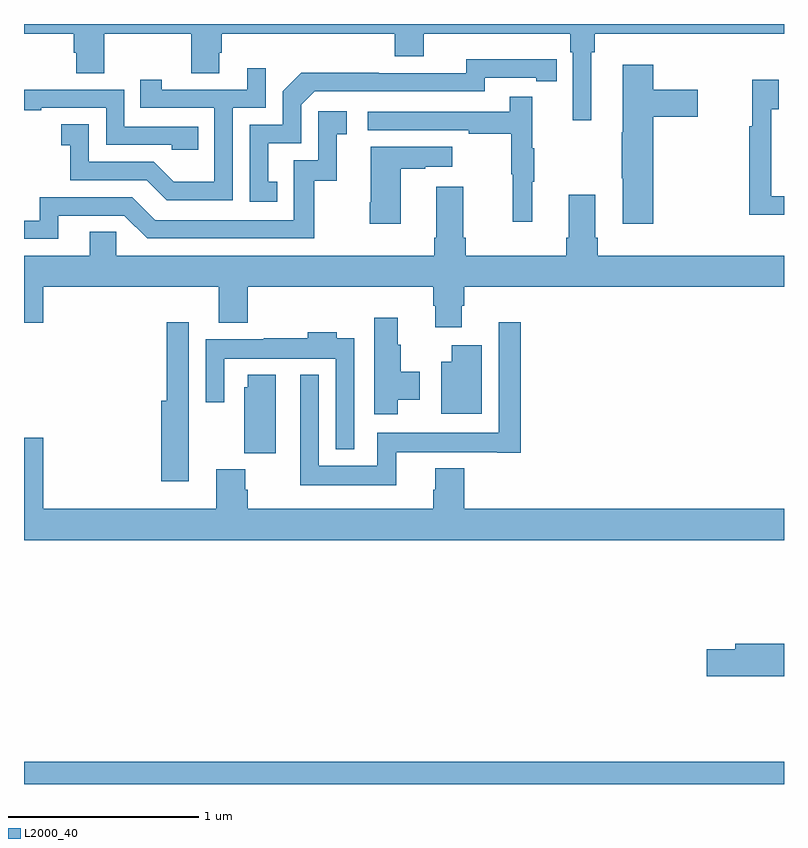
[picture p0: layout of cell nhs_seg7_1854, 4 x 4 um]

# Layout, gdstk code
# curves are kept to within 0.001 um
import gdstk
lib = gdstk.Library(unit=1e-6, precision=1e-09)
def R(c, l, rs):  # rectangles x0, y0, x1, y1
    for r in rs: c.add(gdstk.rectangle(r[:2], r[2:], *l))
def P(c, l, *ps):  # polygons
    for p in ps: c.add(gdstk.Polygon(p, *l))
L2000_40 = (2000, 40)

nhs_seg7_1854 = lib.new_cell('nhs_seg7_1854')
R(nhs_seg7_1854, L2000_40, [(237,998,241,998.116)])
P(nhs_seg7_1854, L2000_40, [(239.986,1001.852),(240.005,1001.852),(240.005,1001.948),(241,1001.948),(241,1002),(237,1002),(237,1001.948),(237.263,1001.948),(237.263,1001.85),(237.275,1001.85),(237.275,1001.74),(237.423,1001.74),(237.423,1001.948),(237.88,1001.948),(237.88,1001.74),(238.027,1001.74),(238.027,1001.85),(238.04,1001.85),(238.04,1001.948),(238.952,1001.948),(238.952,1001.831),(239.104,1001.831),(239.104,1001.948),(239.876,1001.948),(239.876,1001.852),(239.889,1001.852),(239.889,1001.493),(239.986,1001.493)],
  [(238.334,1001.169),(238.285,1001.169),(238.285,1001.373),(238.458,1001.373),(238.458,1001.574),(238.53,1001.646),(239.424,1001.646),(239.424,1001.718),(239.696,1001.718),(239.696,1001.698),(239.804,1001.698),(239.804,1001.814),(239.328,1001.815),(239.328,1001.742),(238.868,1001.742),(238.868,1001.744),(238.46,1001.744),(238.362,1001.646),(238.362,1001.469),(238.188,1001.469),(238.188,1001.064),(238.334,1001.064)],
  [(240.311,1001.513),(240.547,1001.513),(240.547,1001.655),(240.311,1001.655),(240.311,1001.785),(240.152,1001.785),(240.152,1001.429),(240.145,1001.429),(240.145,1001.188),(240.152,1001.188),(240.152,1000.95),(240.311,1000.95)],
  [(238.098,1001.559),(238.272,1001.559),(238.272,1001.767),(238.175,1001.767),(238.175,1001.655),(237.724,1001.655),(237.724,1001.707),(237.613,1001.707),(237.613,1001.559),(238.002,1001.559),(238.002,1001.17),(237.788,1001.17),(237.684,1001.274),(237.342,1001.274),(237.342,1001.473),(237.195,1001.473),(237.195,1001.363),(237.244,1001.363),(237.244,1001.178),(237.647,1001.178),(237.752,1001.073),(238.098,1001.073)],
  [(241,1001.094),(240.933,1001.094),(240.933,1001.551),(240.973,1001.551),(240.973,1001.707),(240.832,1001.707),(240.832,1001.462),(240.817,1001.462),(240.817,1000.997),(241,1000.997)],
  [(237.917,1001.46),(237.528,1001.46),(237.528,1001.655),(237,1001.655),(237,1001.547),(237.091,1001.547),(237.091,1001.559),(237.432,1001.559),(237.432,1001.364),(237.777,1001.364),(237.777,1001.337),(237.917,1001.337)],
  [(239.675,1001.171),(239.686,1001.171),(239.686,1001.345),(239.675,1001.345),(239.675,1001.617),(239.557,1001.617),(239.557,1001.538),(238.809,1001.538),(238.809,1001.442),(239.341,1001.442),(239.341,1001.422),(239.565,1001.422),(239.565,1001.208),(239.572,1001.208),(239.572,1000.959),(239.675,1000.959)],
  [(237.181,1000.992),(237.528,1000.992),(237.648,1000.872),(238.528,1000.872),(238.528,1001.175),(238.646,1001.175),(238.646,1001.421),(238.699,1001.421),(238.699,1001.542),(238.548,1001.542),(238.548,1001.283),(238.419,1001.283),(238.419,1000.968),(237.69,1000.968),(237.57,1001.088),(237.084,1001.088),(237.084,1000.965),(237,1000.965),(237,1000.869),(237.181,1000.869)],
  [(238.984,1001.239),(239.111,1001.239),(239.111,1001.249),(239.254,1001.249),(239.254,1001.353),(238.826,1001.353),(238.826,1001.062),(238.819,1001.062),(238.819,1000.95),(238.984,1000.95)],
  [(239.305,1000.518),(239.318,1000.518),(239.318,1000.616),(241,1000.616),(241,1000.78),(240.02,1000.78),(240.02,1000.876),(240.007,1000.876),(240.007,1001.101),(239.867,1001.101),(239.867,1000.876),(239.855,1000.876),(239.855,1000.78),(239.324,1000.78),(239.324,1000.876),(239.311,1000.876),(239.311,1001.143),(239.171,1001.143),(239.171,1000.876),(239.159,1000.876),(239.159,1000.78),(237.486,1000.78),(237.486,1000.907),(237.347,1000.907),(237.347,1000.78),(237,1000.78),(237,1000.428),(237.1,1000.428),(237.1,1000.616),(238.025,1000.616),(238.025,1000.427),(238.178,1000.427),(238.178,1000.616),(239.153,1000.616),(239.153,1000.518),(239.165,1000.518),(239.165,1000.404),(239.305,1000.404)],
  [(238.966,1000.022),(239.083,1000.022),(239.083,1000.17),(238.984,1000.17),(238.984,1000.311),(238.966,1000.311),(238.966,1000.453),(238.844,1000.453),(238.844,999.945),(238.966,999.945)],
  [(238.958,999.746),(239.492,999.746),(239.492,999.744),(239.615,999.744),(239.615,1000.429),(239.499,1000.429),(239.499,999.85),(238.86,999.85),(238.86,999.676),(238.551,999.676),(238.551,1000.153),(238.454,1000.153),(238.454,999.572),(238.958,999.572)],
  [(237.868,999.914),(237.867,999.914),(237.867,1000.429),(237.751,1000.429),(237.751,1000.018),(237.722,1000.018),(237.722,999.594),(237.868,999.594)],
  [(238.737,1000.345),(238.645,1000.345),(238.645,1000.378),(238.493,1000.378),(238.493,1000.345),(238.261,1000.345),(238.261,1000.342),(237.957,1000.342),(237.957,1000.008),(238.053,1000.008),(238.053,1000.238),(238.641,1000.238),(238.641,999.761),(238.737,999.761)],
  [(239.41,1000.309),(239.252,1000.309),(239.252,1000.222),(239.195,1000.222),(239.195,999.95),(239.41,999.95)],
  [(238.324,1000.153),(238.178,1000.153),(238.178,1000.089),(238.16,1000.089),(238.16,999.742),(238.324,999.742)],
  [(241,999.448),(239.318,999.448),(239.318,999.661),(239.165,999.661),(239.165,999.549),(239.153,999.549),(239.153,999.448),(238.178,999.448),(238.178,999.548),(238.165,999.548),(238.165,999.657),(238.013,999.657),(238.013,999.448),(237.1,999.448),(237.1,999.823),(237,999.823),(237,999.284),(241,999.284)],
  [(241,998.738),(240.743,998.738),(240.743,998.708),(240.594,998.708),(240.594,998.566),(241,998.566)])

lib.write_gds('nhs_seg7_1854.gds')
